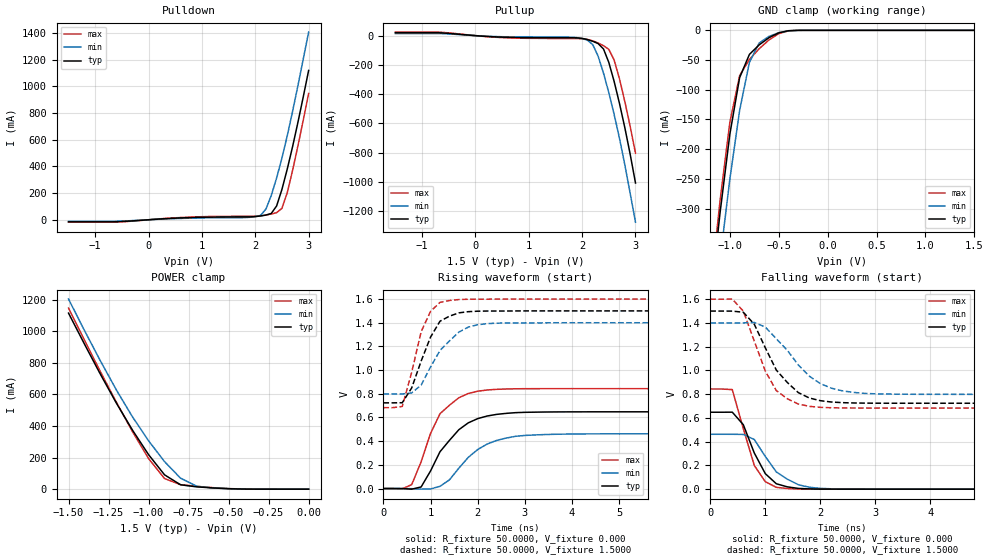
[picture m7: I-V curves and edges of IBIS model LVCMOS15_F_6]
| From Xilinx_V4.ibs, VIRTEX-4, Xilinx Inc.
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|   Model LVCMOS15_F_6
[Model]   LVCMOS15_F_6
Model_type   I/O
Polarity   Non-Inverting
Enable   Active-Low
Vinh = 1.05V
Vinl = 0.3V
Vmeas =   0.7500V
Cref =  0.000F
Rref =   1.0000M
Vref =  0.000V
C_comp   8.0000pF   8.0000pF   8.0000pF
[Temperature Range]   25.0000   85.0000   0.000
[Voltage Range]   1.5000V   1.4000V   1.6000V
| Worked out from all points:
|   slope of the pulldown table from 0 to 0.225 V, typ, clamps not added: 37 ohm
|   slope of the pullup table from 0 to 0.225 V, typ, clamps not added: 40.6 ohm
|   GND clamp passes 1 mA (typ) near -0.41 V on its own axis
|   POWER clamp passes 1 mA (typ) near -0.42 V on its own axis
|   rising waveform, R_fixture 50.0000, V_fixture 0.000: 20-80 % time 702ps typ, 735ps min, 580ps max; typ from 0 V to 0.648 V
|   rising waveform, R_fixture 50.0000, V_fixture 1.5000: 20-80 % time 472ps typ, 631ps min, 387ps max; typ from 0.724 V to 1.5 V
|   falling waveform, R_fixture 50.0000, V_fixture 0.000: 20-80 % time 382ps typ, 504ps min, 346ps max; typ from 0.648 V to 0 V
|   falling waveform, R_fixture 50.0000, V_fixture 1.5000: 20-80 % time 602ps typ, 731ps min, 490ps max; typ from 1.5 V to 0.724 V
[Pulldown]
| voltage   I(typ)   I(min)   I(max)
-1.5V     -15.78mA   -11.99mA   -18.23mA
-700mV    -15.78mA   -11.99mA   -18.23mA
700mV     15.2mA     11.07mA    18.64mA
1.8V      21.14mA    16.15mA    25.96mA
2.1V      28.63mA    33.09mA    29.42mA
2.2V      35.49mA    80.08mA    35.19mA
2.3V      47.19mA    182.7mA    43.2mA
2.4V      103.5mA    313.4mA    53.49mA
2.5V      227.9mA    463mA      85.49mA
2.6V      380.8mA    631.2mA    204.1mA
2.7V      549.7mA    814.6mA    371.2mA
3V        1.12A      1.408A     947.8mA
[Pullup]
| voltage   I(typ)   I(min)   I(max)
-1.5V     19.99mA    14.19mA    24.33mA
600mV     -11.41mA   -8.205mA   -15.06mA
1.8V      -14.6mA    -10.8mA    -20.13mA
2.1V      -26.79mA   -30.97mA   -25.72mA
2.2V      -38.68mA   -62.09mA   -36mA
2.3V      -54.51mA   -140.9mA   -50.65mA
2.4V      -90.94mA   -255.8mA   -68.51mA
2.5V      -183.1mA   -390.5mA   -94.13mA
2.6V      -313.7mA   -539.2mA   -167mA
2.7V      -464.1mA   -702.7mA   -295.5mA
2.8V      -629.3mA   -883.4mA   -450.7mA
3V        -1.008A    -1.276A    -803.6mA
[GND_clamp]
| voltage   I(typ)   I(min)   I(max)
-1.5V     -1.005A    -1.076A    -996.1mA
-1.2V     -458.4mA   -535.2mA   -443.2mA
-1.1V     -307mA     -386mA     -286.5mA
-1V       -174.9mA   -250.6mA   -154.8mA
-900mV    -79.61mA   -134.7mA   -76.27mA
-800mV    -40.54mA   -53.98mA   -48.94mA
-700mV    -24.41mA   -21.32mA   -30.96mA
-600mV    -12.44mA   -10.24mA   -16.17mA
-500mV    -4.23mA    -3.859mA   -5.633mA
-400mV    -647uA     -794.1uA   -841.7uA
-300mV    -43.21uA   -80.69uA   -50.76uA
1.5V      152nA      562.3nA    149.6nA
[POWER_clamp]
| voltage   I(typ)   I(min)   I(max)
-1.5V     1.115A     1.204A     1.147A
-1.3V     726.2mA    810.7mA    742.4mA
-1.2V     543.3mA    626.5mA    548.6mA
-1.1V     373.1mA    457.2mA    363.5mA
-1V       218.7mA    306.5mA    193.9mA
-900mV    90.67mA    174.3mA    67.17mA
-800mV    27.68mA    69.38mA    28.46mA
-700mV    14.76mA    18.63mA    17.76mA
-500mV    2.851mA    2.954mA    3.657mA
0V        152nA      168.6nA    160.4nA
[Ramp]
| variable   typ   min   max
dV/dt_r   0.3888/0.6296n   0.2774/0.7219n   0.5062/0.5318n
dV/dt_f   0.4658/0.5426n   0.3608/0.6650n   0.5501/0.4592n
R_load = 50.0000
[Rising Waveform]
R_fixture = 50.0000
V_fixture = 0.000
| time   V(typ)   V(min)   V(max)
0s        0V         687.1nV    0V
600ps     -5.25mV    -1.124mV   32.94mV
800ps     13.38mV    -4.82mV    226.2mV
1ns       148.8mV    -3.53mV    466.3mV
1.2ns     310.9mV    18.9mV     631.6mV
1.6ns     496.9mV    172.1mV    766.9mV
2ns       590.5mV    329.7mV    821.9mV
2.6ns     634.7mV    426mV      840.6mV
3.4ns     646.1mV    455.6mV    843.5mV
10ns      648mV      462.3mV    843.7mV
[Rising Waveform]
R_fixture = 50.0000
V_fixture = 1.5000
V_fixture_min = 1.4000
V_fixture_max = 1.6000
| time   V(typ)   V(min)   V(max)
0s        723.6mV    798.6mV    683.1mV
400ps     724.7mV    798.6mV    693.2mV
600ps     849.7mV    807.4mV    981.8mV
800ps     1.076V     873.2mV    1.324V
1ns       1.279V     1.027V     1.496V
1.2ns     1.413V     1.166V     1.572V
1.6ns     1.484V     1.321V     1.596V
1.8ns     1.494V     1.363V     1.599V
2.2ns     1.499V     1.393V     1.599V
10ns      1.5V       1.4V       1.6V
[Falling Waveform]
R_fixture = 50.0000
V_fixture = 0.000
| time   V(typ)   V(min)   V(max)
0s        647.9mV    462.3mV    843.7mV
400ps     648.5mV    462.2mV    838.5mV
600ps     543.3mV    460.9mV    510.4mV
800ps     304.6mV    418mV      200mV
1ns       130.7mV    275.8mV    62.97mV
1.2ns     45.58mV    145.1mV    15.37mV
1.6ns     6.435mV    37.47mV    1.411mV
1.8ns     2.106mV    16.18mV    351.1uV
2.2ns     222.9uV    2.932mV    15.11uV
10ns      -584.6nV   1.179uV    -612.7nV
[Falling Waveform]
R_fixture = 50.0000
V_fixture = 1.5000
V_fixture_min = 1.4000
V_fixture_max = 1.6000
| time   V(typ)   V(min)   V(max)
0s        1.5V       1.4V       1.6V
400ps     1.5V       1.4V       1.601V
600ps     1.49V      1.4V       1.5V
800ps     1.389V     1.404V     1.247V
1ns       1.191V     1.365V     994.5mV
1.2ns     1.003V     1.267V     830.3mV
1.8ns     767.9mV    951.9mV    697.4mV
2.2ns     734mV      850.7mV    685.6mV
3ns       724mV      802.9mV    683.2mV
10ns      723.6mV    798.6mV    683.1mV
